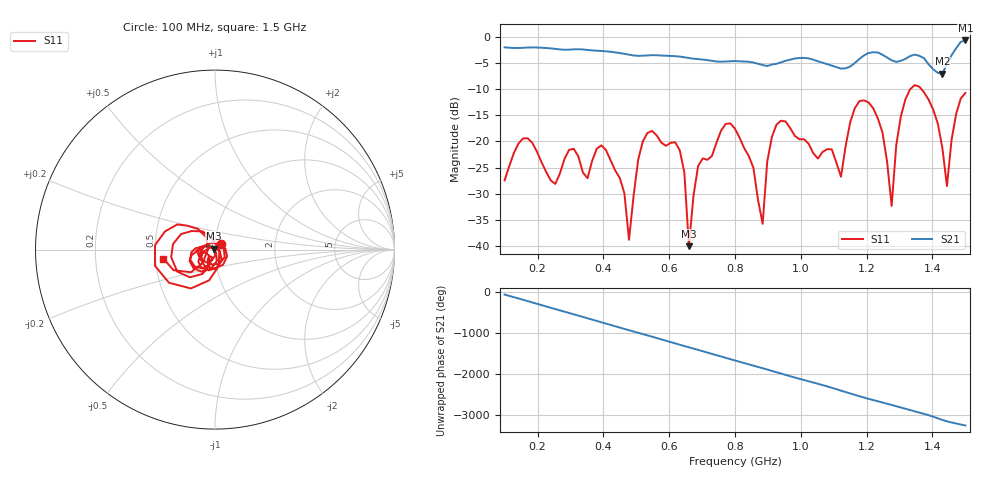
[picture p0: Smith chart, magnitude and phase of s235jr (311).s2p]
! NanoVNA-App
! Date: 2025-09-25 15:06:35
! Start: 100MHz Stop: 1,5GHz Points: 101
! S-Parameter data: F S11 S21 S12 S22
# Hz S RI R 50
!  Frequency  S11_Real  S11_Imag  S21_Real  S21_Imag  S12_Real  S12_Imag  S22_Real  S22_Imag
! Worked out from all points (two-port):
!   101 points, 100 MHz to 1.5 GHz, reference 50 ohm
!   highest |S21| = -0.65 dB at 1.5 GHz (marker M1); lowest = -7.0 dB at 1.43 GHz (marker M2)
!   |S21| within 3 dB of the highest: start of sweep to 614.1 MHz; 1.189 GHz to 1.255 GHz (65.87 MHz wide, 5.39 % of centre) (the widest 2 of 4)
!   lowest |S11| = -40.1 dB at 660 MHz (marker M3), VSWR 1.02, Z = 49.2 + j0.59 ohm
!   |S11| at or under -10 dB: start of sweep to 1.332 GHz; 1.367 GHz to end of sweep
!   S12 and S22 are empty: the file has one direction only
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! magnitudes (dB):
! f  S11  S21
! 100 MHz  -27.5  -2.0
! 156 MHz  -19.4  -2.0
! 338 MHz  -26.0  -2.4
! 408 MHz  -21.7  -2.7
! 478 MHz  -38.8  -3.4
! 520 MHz  -20.0  -3.6
! 576 MHz  -20.2  -3.5
! 632 MHz  -21.7  -3.7
! 660 MHz  -40.1  -4.0
! 688 MHz  -24.7  -4.2
! 800 MHz  -17.6  -4.6
! 884 MHz  -35.8  -5.4
! 926 MHz  -16.8  -5.1
! 1.038 GHz  -22.3  -4.3
! 1.122 GHz  -26.8  -6.0
! 1.206 GHz  -12.5  -3.0
! 1.248 GHz  -18.3  -3.4
! 1.276 GHz  -32.4  -4.5
! 1.332 GHz  -10.0  -3.6
! 1.43 GHz  -21.2  -7.0
! 1.444 GHz  -28.5  -5.1
! 1.5 GHz  -10.7  -0.6
